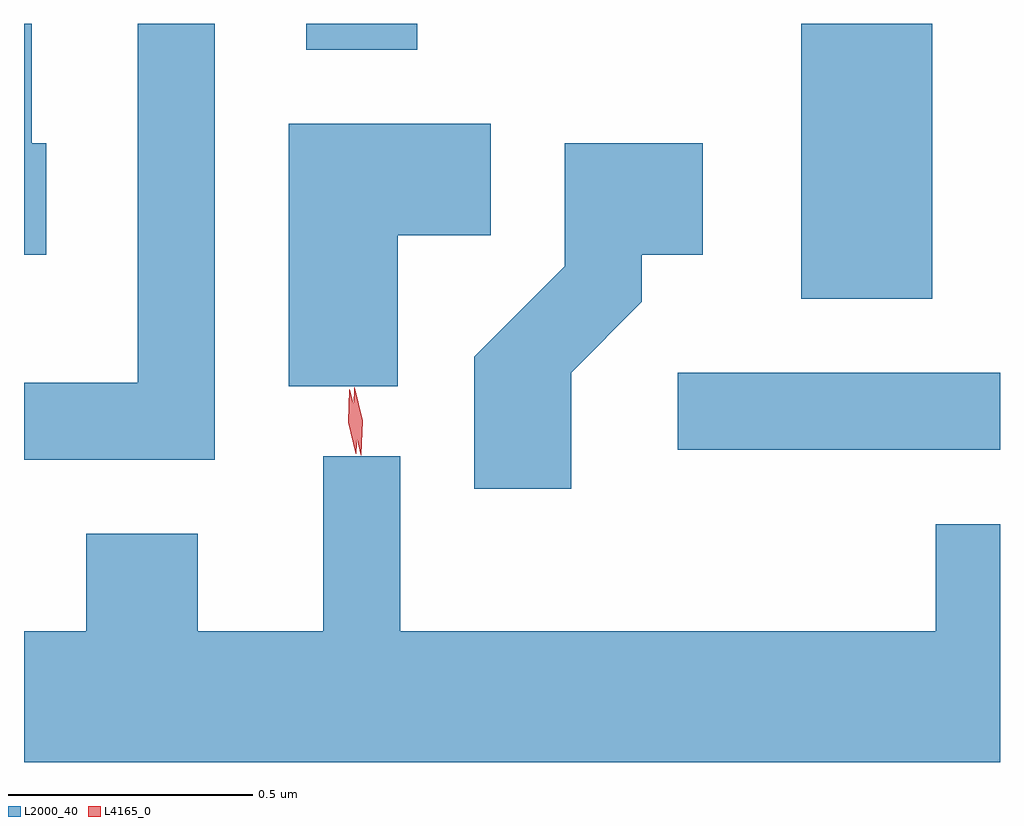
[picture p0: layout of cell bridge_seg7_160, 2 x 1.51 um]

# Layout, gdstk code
import gdstk
lib = gdstk.Library(unit=1e-6, precision=1e-09)
def R(c, l, rs):  # rectangles x0, y0, x1, y1
    for r in rs: c.add(gdstk.rectangle(r[:2], r[2:], *l))
def P(c, l, *ps):  # polygons
    for p in ps: c.add(gdstk.Polygon(p, *l))
L2000_40 = (2000, 40)
L4165_0 = (4165, 0)

bridge_seg7_160 = lib.new_cell('bridge_seg7_160')
R(bridge_seg7_160, L2000_40, [(1619.493,1726.056,1620.153,1726.214), (1619.746,1726.366,1620.014,1726.929), (1618.731,1726.876,1618.959,1726.929)])
P(bridge_seg7_160, L2000_40, [(1618.544,1726.929),(1618.386,1726.929),(1618.386,1726.194),(1618.153,1726.194),(1618.153,1726.036),(1618.544,1726.036)],
  [(1618.199,1726.684),(1618.169,1726.684),(1618.169,1726.929),(1618.153,1726.929),(1618.153,1726.456),(1618.199,1726.456)],
  [(1618.919,1726.496),(1619.109,1726.496),(1619.109,1726.724),(1618.696,1726.724),(1618.696,1726.186),(1618.919,1726.186)],
  [(1619.274,1726.214),(1619.419,1726.359),(1619.419,1726.456),(1619.544,1726.456),(1619.544,1726.684),(1619.261,1726.684),(1619.261,1726.432),(1619.076,1726.247),(1619.076,1725.976),(1619.274,1725.976)],
  [(1620.153,1725.904),(1620.021,1725.904),(1620.021,1725.684),(1618.924,1725.684),(1618.924,1726.043),(1618.766,1726.043),(1618.766,1725.684),(1618.509,1725.684),(1618.509,1725.884),(1618.281,1725.884),(1618.281,1725.684),(1618.153,1725.684),(1618.153,1725.416),(1620.153,1725.416)])
P(bridge_seg7_160, L4165_0, [(1618.844,1726.045),(1618.843,1726.046),(1618.828,1726.114),(1618.83,1726.183),(1618.831,1726.184),(1618.831,1726.183),(1618.847,1726.116),(1618.844,1726.046)],
  [(1618.833,1726.048),(1618.817,1726.113),(1618.82,1726.179),(1618.821,1726.18),(1618.821,1726.179),(1618.837,1726.115),(1618.834,1726.048),(1618.834,1726.048)])

lib.write_gds('bridge_seg7_160.gds')
